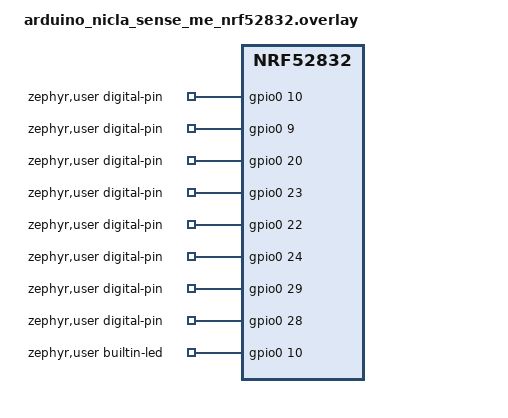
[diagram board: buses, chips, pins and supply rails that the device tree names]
&flash0 {
	partitions {
		user_sketch: partition@70000 {
			label = "user";
			reg = <0x070000 0x10000>;
		};
	};
};

/ {
	zephyr,user {
		digital-pin-gpios = <&gpio0 10 0>,		// 0: GPIO3
				    <&gpio0 9 0>,				// 1: GPIO2/RX
				    <&gpio0 20 0>,				// 2: GPIO1/TX
				    <&gpio0 23 0>,				// 3: SCL1
				    <&gpio0 22 0>,				// 4: SDA1
				    <&gpio0 24 0>,				// 5: GPIO0
				    <&gpio0 29 0>,				// 6: CS
				    <&gpio0 28 0>,				// 7: CIPO
				    <&gpio0 27 0>,				// 8: COPI
				    <&gpio0 11 0>,				// 9: SCLK
				    <&gpio0 2 0>,				// 10: A0
				    <&gpio0 30 0>,				// 11: A1
				    <&gpio0 19 0>,				// 12: INT ESLOV
				    <&gpio0 18 0>,				// 13: Reset BHI260
				    <&gpio0 14 0>,				// 14: INT BHI260
				    <&gpio0 25 0>,				// 15: BQ25120 CD
				    <&gpio0 26 0>,				// 16: CS FLASH
				    <&gpio0 31 0>;				// 17: CS BHI260

		builtin-led-gpios = <&gpio0 10 0>;		// TODO: fixme: use real i2c led (will need some magic like PureAnalog)

		serials = <&uart0>;
		i2cs = <&i2c1>;
		spis = <&spi1>;
	};
};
